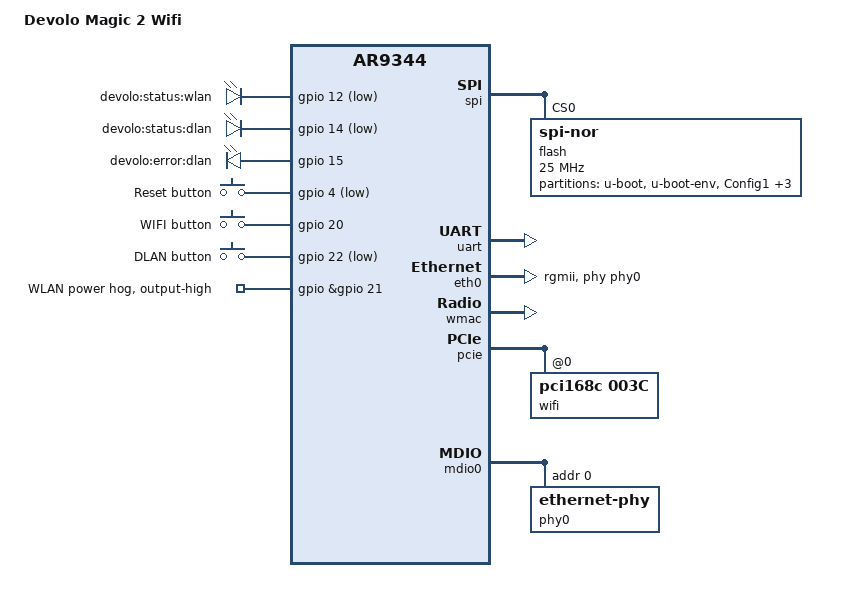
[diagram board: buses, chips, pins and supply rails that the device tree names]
// SPDX-License-Identifier: GPL-2.0-or-later OR MIT
/dts-v1/;

#include <dt-bindings/gpio/gpio.h>
#include <dt-bindings/input/input.h>

#include "ar9344.dtsi"

/ {
	model = "Devolo Magic 2 Wifi";
	compatible = "devolo,magic-2-wifi", "qca,ar9344";

	aliases {
		led-boot = &plcr;
		led-failsafe = &plcr;
		led-running = &plcw;
		led-upgrade = &plcr;
		label-mac-device = &eth0;
	};

	leds {
		compatible = "gpio-leds";

		wlan: wlan {
			label = "devolo:status:wlan";
			gpios = <&gpio 12 GPIO_ACTIVE_LOW>;
			linux,default-trigger = "phy1tpt";
		};

		plcw: lan_status {
			label = "devolo:status:dlan";
			gpios = <&gpio 14 GPIO_ACTIVE_LOW>;
			linux,default-trigger = "netdev";
		};

		plcr: dlan_error {
			label = "devolo:error:dlan";
			gpios = <&gpio 15 GPIO_ACTIVE_HIGH>;
			panic-indicator;
		};
	};

	keys {
		compatible = "gpio-keys";

		reset_button {
			label = "Reset button";
			linux,code = <KEY_RESTART>;
			gpios = <&gpio 4 GPIO_ACTIVE_LOW>;
			debounce-interval = <60>;
		};
		wifi_button {
			label = "WIFI button";
			linux,code = <KEY_RFKILL>;
			gpios = <&gpio 20 GPIO_ACTIVE_HIGH>;
			debounce-interval = <60>;
		};
		dlan_button {
			label = "DLAN button";
			linux,code = <BTN_0>;
			gpios = <&gpio 22 GPIO_ACTIVE_LOW>;
			debounce-interval = <60>;
		};
	};
};

&gpio {
	status = "okay";

	wlan_power {
		gpio-hog;
		line-name = "WLAN power";
		gpios = <&gpio 21 GPIO_ACTIVE_HIGH>;
		output-high;
	};

	plc_enable {
		line-name = "PLC enable";
		gpios = <&gpio 13 GPIO_ACTIVE_HIGH>;
		output-high;
	};

	plc_pairing {
		line-name = "PLC pairing";
		gpios = <&gpio 11 GPIO_ACTIVE_LOW>;
		output-high;
	};
};

&spi {
	status = "okay";

	num-cs = <1>;

	flash@0 {
		compatible = "jedec,spi-nor";
		reg = <0>;
		spi-max-frequency = <25000000>;

		partitions {
			compatible = "fixed-partitions";
			#address-cells = <1>;
			#size-cells = <1>;

			uboot: partition@0 {
				label = "u-boot";
				reg = <0x0 0x40000>;
				read-only;
			};

			partition@40000 {
				label = "u-boot-env";
				reg = <0x40000 0x10000>;
				read-only;
			};

			partition@50000 {
				label = "Config1";
				reg = <0x50000 0x10000>;
				read-only;
			};

			partition@60000 {
				label = "Config2";
				reg = <0x60000 0x10000>;
				read-only;
			};

			partition@70000 {
				compatible = "denx,uimage";
				label = "firmware";
				reg = <0x70000 0xf80000>;
			};

			art: partition@ff0000 {
				label = "art";
				reg = <0xff0000 0x10000>;
				read-only;
			};
		};
	};
};

&ref {
	clock-frequency = <40000000>;
};

&uart {
	status = "okay";
};

&eth0 {
	status = "okay";

	pll-data = <0x02000000 0x00000101 0x00001616>; /* default for ar934x, except for 1000M */

	mtd-mac-address = <&art 0x1002>;
	mtd-mac-address-increment = <2>;

	phy-mode = "rgmii";
	phy-handle = <&phy0>;
};

&wmac {	/* Wifi ath9K 2.4GHz 802.11bgn */
	status = "okay";
	mtd-cal-data = <&art 0x1000>;
};

&pcie {
	status = "okay";

	wifi@0,0 { /* ath10k 5GHz 802.11anac 2x2MIMO */
		compatible = "pci168c,003c";
		reg = <0x0000 0 0 0 0>;
		qca,no-eeprom;
	};
};

&mdio0 {
	status = "okay";

	phy-mask = <0>;

	phy0: ethernet-phy@0 {
		reg = <0>;
		phy-mode = "rgmii";

		qca,ar8327-initvals = <
			0x04 0x06400000 /* PORT0: RGMII, MAC0/6 exchage, tx_delay 01, No rx_delay. To reset use 0x86400000 */
			0x08 0x00000000 /* PORT5 PAD MODE CTRL */
			0x0c 0x00000000 /* PORT6 PAD MODE CTRL */
			0x7c 0x0000007e /* PORT0_STATUS */
		>;
	};
};
